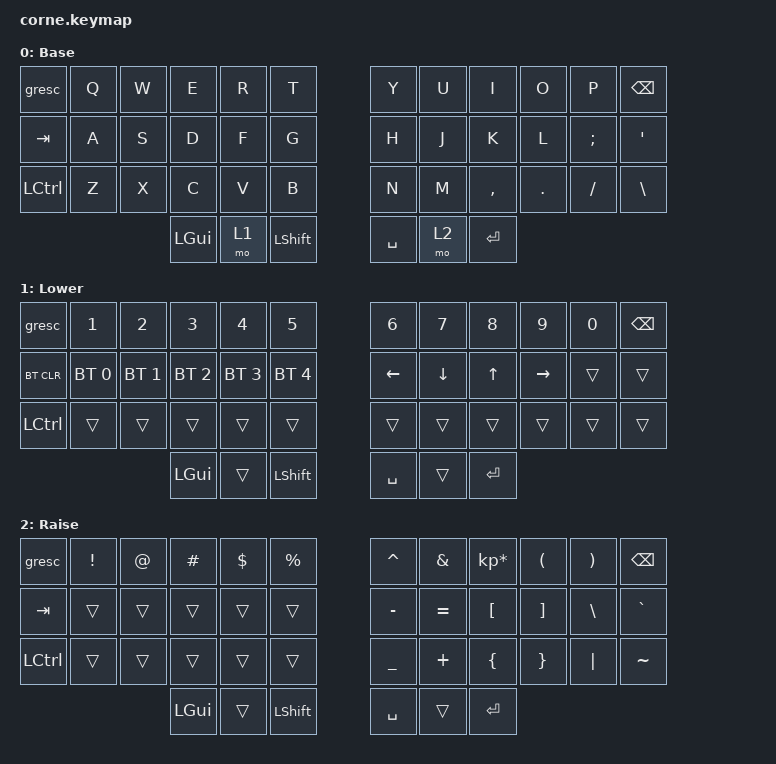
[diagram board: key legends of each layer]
/*
 * Copyright (c) 2020 The ZMK Contributors
 *
 * SPDX-License-Identifier: MIT
 *
 * Typeractive's default Corne keymap (typeractivexyz/corne-wireless-view-zmk-config),
 * changed only in these places:
 *   - left outer column: Esc/` (grave escape), Tab, Ctrl
 *   - bottom-right outer key: \ (was Esc)
 *   - thumbs: Shift on the left inner thumb (was Space), Space on the right inner
 *     thumb (was Enter), Enter on the right outer thumb (was Alt)
 */

#include <behaviors.dtsi>
#include <dt-bindings/zmk/keys.h>
#include <dt-bindings/zmk/bt.h>

/ {
        keymap {
                compatible = "zmk,keymap";

                default_layer {
// -----------------------------------------------------------------------------------------
// | ESC` |  Q  |  W  |  E  |  R  |  T  |   |  Y  |  U   |  I  |  O  |  P  | BKSP |
// |  TAB |  A  |  S  |  D  |  F  |  G  |   |  H  |  J   |  K  |  L  |  ;  |  '   |
// | CTRL |  Z  |  X  |  C  |  V  |  B  |   |  N  |  M   |  ,  |  .  |  /  |  \   |
//                    | GUI | LWR | SHFT|   | SPC | RSE  | ENT |
                        display-name = "Base";
                        bindings = <
   &gresc    &kp Q &kp W &kp E &kp R &kp T   &kp Y &kp U  &kp I     &kp O   &kp P    &kp BSPC
   &kp TAB   &kp A &kp S &kp D &kp F &kp G   &kp H &kp J  &kp K     &kp L   &kp SEMI &kp SQT
   &kp LCTRL &kp Z &kp X &kp C &kp V &kp B   &kp N &kp M  &kp COMMA &kp DOT &kp FSLH &kp BSLH
                  &kp LGUI &mo 1 &kp LSHFT   &kp SPACE &mo 2 &kp RET
                        >;
                };
                lower_layer {
// -----------------------------------------------------------------------------------------
// | ESC` |  1  |  2  |  3  |  4  |  5  |   |  6  |  7  |  8  |  9  |  0  | BKSP |
// | BTCLR| BT1 | BT2 | BT3 | BT4 | BT5 |   | LFT | DWN |  UP | RGT |     |      |
// | CTRL |     |     |     |     |     |   |     |     |     |     |     |      |
//                    | GUI |     | SHFT|   | SPC |     | ENT |
                        display-name = "Lower";
                        bindings = <
   &gresc     &kp N1       &kp N2       &kp N3       &kp N4       &kp N5         &kp N6   &kp N7   &kp N8 &kp N9    &kp N0 &kp BSPC
   &bt BT_CLR &bt BT_SEL 0 &bt BT_SEL 1 &bt BT_SEL 2 &bt BT_SEL 3 &bt BT_SEL 4   &kp LEFT &kp DOWN &kp UP &kp RIGHT &trans &trans
   &kp LCTRL  &trans       &trans       &trans       &trans       &trans         &trans   &trans   &trans &trans    &trans &trans
                                        &kp LGUI     &trans       &kp LSHFT      &kp SPACE &trans  &kp RET
                        >;
                };

                raise_layer {
// -----------------------------------------------------------------------------------------
// | ESC` |  !  |  @  |  #  |  $  |  %  |   |  ^  |  &  |  *  |  (  |  )  | BKSP |
// |  TAB |     |     |     |     |     |   |  -  |  =  |  [  |  ]  |  \  |  `   |
// | CTRL |     |     |     |     |     |   |  _  |  +  |  {  |  }  | "|" |  ~   |
//                    | GUI |     | SHFT|   | SPC |     | ENT |
                        display-name = "Raise";
                        bindings = <
   &gresc    &kp EXCL &kp AT &kp HASH &kp DLLR &kp PRCNT   &kp CARET &kp AMPS  &kp KP_MULTIPLY &kp LPAR &kp RPAR &kp BSPC
   &kp TAB   &trans   &trans &trans   &trans   &trans      &kp MINUS &kp EQUAL &kp LBKT        &kp RBKT &kp BSLH &kp GRAVE
   &kp LCTRL &trans   &trans &trans   &trans   &trans      &kp UNDER &kp PLUS  &kp LBRC        &kp RBRC &kp PIPE &kp TILDE
                             &kp LGUI &trans   &kp LSHFT   &kp SPACE &trans    &kp RET
                        >;
                };

                extra_1 {
                        status = "reserved";
                };

                extra_2 {
                        status = "reserved";
                };

                extra_3 {
                        status = "reserved";
                };
        };
};
